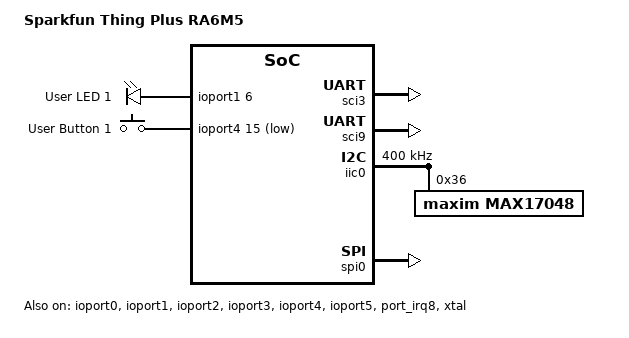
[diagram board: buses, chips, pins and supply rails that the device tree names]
/*
 * Copyright (c) 2025 Ian Morris
 * SPDX-License-Identifier: Apache-2.0
 */

/dts-v1/;

#include <renesas/ra/ra6/r7fa6m5ah3cfp.dtsi>
#include <dt-bindings/gpio/gpio.h>
#include <dt-bindings/led/led.h>
#include <dt-bindings/input/input-event-codes.h>

#include "sparkfun_thing_plus_ra6m5.dtsi"
#include "feather_connector.dtsi"

/ {
	model = "Sparkfun Thing Plus RA6M5";
	compatible = "renesas,ra6m5", "renesas,ra";

	chosen {
		zephyr,sram = &sram0;
		zephyr,flash = &flash0;
		zephyr,console = &uart3;
		zephyr,shell-uart = &uart3;
		zephyr,bt-hci = &bt_hci_uart;
	};

	leds {
		compatible = "gpio-leds";
		ld1: led_1 {
			gpios = <&ioport1 6 GPIO_ACTIVE_HIGH>;
			label = "User LED 1";
		};
	};

	gpio_keys {
		compatible = "gpio-keys";
		btn1: button_1 {
			label = "User Button 1";
			gpios = <&ioport4 15 GPIO_ACTIVE_LOW>;
			zephyr,code = <INPUT_KEY_0>;
		};
	};

	aliases {
		led0 = &ld1;
		sw0 = &btn1;
	};
};

&sci3 {
	pinctrl-0 = <&sci3_default>;
	pinctrl-names = "default";
	status = "okay";
	uart3: uart {
		current-speed = <115200>;
		status = "okay";
	};
};

&sci9 {
	pinctrl-0 = <&sci9_default>;
	pinctrl-names = "default";
	status = "okay";
	uart9: uart {
		hw-flow-control;
		current-speed = <115200>;
		status = "okay";

		bt_hci_uart: bt_hci_uart {
			compatible = "zephyr,bt-hci-uart";
			status = "okay";

			da1453x {
				compatible = "renesas,bt-hci-da1453x";
				reset-gpios = <&ioport1 15 GPIO_ACTIVE_LOW>;
			};
		};
	};
};

&iic0 {
	status = "okay";
	#address-cells = <1>;
	#size-cells = <0>;
	interrupts = <91 1>, <92 1>, <93 1>, <94 1>;
	interrupt-names = "rxi", "txi", "tei", "eri";
	clock-frequency = <DT_FREQ_K(400)>;
	pinctrl-0 = <&iic0_default>;
	pinctrl-names = "default";

	max17048: max17048@36 {
		compatible = "maxim,max17048";
		status = "okay";
		reg = <0x36 >;
	};
};

&spi0 {
	pinctrl-0 = <&spi0_default>;
	pinctrl-names = "default";
	status = "okay";
};

&ioport0 {
	status = "okay";
};

&ioport1 {
	status = "okay";
};

&ioport2 {
	status = "okay";
};

&ioport3 {
	status = "okay";
};

&ioport4 {
	status = "okay";
};

&ioport5 {
	status = "okay";
};

&port_irq8 {
	interrupts = <41 12>;
	status = "okay";
};

&xtal {
	clock-frequency = <DT_FREQ_M(24)>;
	mosel = <0>;
	#clock-cells = <0>;
	status = "okay";
};

&subclk {
	status = "okay";
};

&pll {
	clocks = <&xtal>;
	div = <3>;
	mul = <25 0>;
	status = "okay";
};
